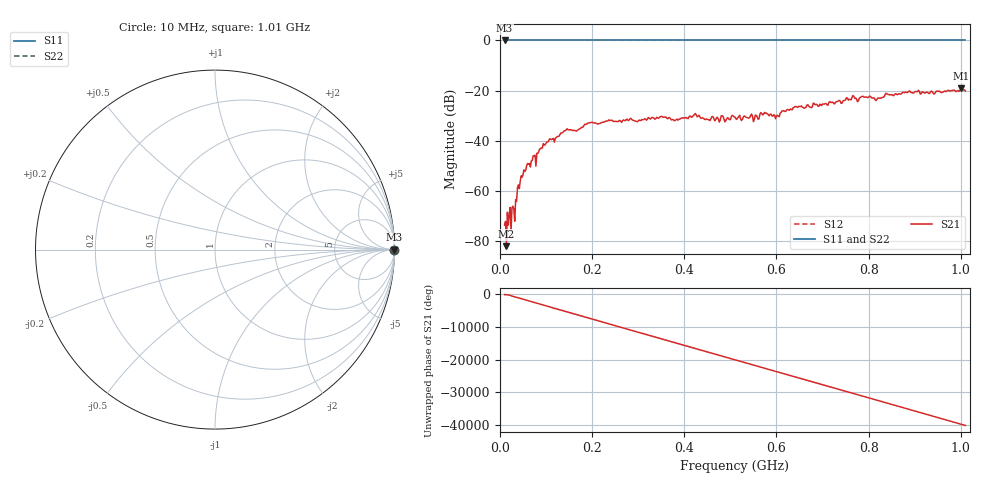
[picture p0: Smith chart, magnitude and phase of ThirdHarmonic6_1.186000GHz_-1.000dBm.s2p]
! 8/16/2025 12:09:28 PM
! C:\ANRITSUVNA\TEMP\TEMP.S2P
! CHANNEL.1
! TR.MEASUREMENT
! RAW.DATA
! RF.CORRECTION.OFF
! AVERAGING.OFF
! IF.BANDWIDTH: 5KHZ
! SWEEPTYPE:  FREQ.SWEEP(Linear)
! Reference Plane Port Info
! PORT:  PORT1  PORT2
! DISTANCE:  0  m  0  m
! TIME:  0  s  0  s
! PHASE.OFFSET:  0  deg.  0  deg.
! LOSS:  0  dB  0  dB
! REF.LOSS:  0  dB  0  dB
! REF.FREQ:  0  Hz  0  Hz
! Power Info
! POWER:  -20  dBm  -20  dBm
! EFF.POWER:  -20  dBm  -20  dBm
! SOURCE.ATTEN:  0  dB  0  dB
! TEST.ATTEN:  0  dB  0  dB
# GHZ S RI R 50.0
! FREQ.GHZ  S11RE  S11IM  S21RE  S21IM  S12RE  S12IM  S22RE  S22IM
!; PortSelection: Port_12
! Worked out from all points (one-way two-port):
!   501 points, 10 MHz to 1.01 GHz, reference 50 ohm
!   highest |S21| = -19.11 dB at 1 GHz (marker M1); lowest = -81.9 dB at 14 MHz (marker M2)
!   lowest |S11| = 0.0 dB at 10 MHz (marker M3)
!   |S11| at or under -10 dB: nowhere
!   |S22| runs from 0.0 to 0.0 dB; largest |S21 - S12| = 1.1
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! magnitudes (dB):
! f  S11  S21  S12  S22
! 10 MHz  0.0  -73.5  0.0  0.0
! 14 MHz  0.0  -81.9  0.0  0.0
! 24 MHz  0.0  -76.0  0.0  0.0
! 28 MHz  0.0  -66.0  0.0  0.0
! 42 MHz  0.0  -59.0  0.0  0.0
! 48 MHz  0.0  -54.4  0.0  0.0
! 72 MHz  0.0  -46.0  0.0  0.0
! 106 MHz  0.0  -39.8  0.0  0.0
! 142 MHz  0.0  -35.9  0.0  0.0
! 178 MHz  0.0  -34.5  0.0  0.0
! 196 MHz  0.0  -32.7  0.0  0.0
! 344 MHz  0.0  -31.0  0.0  0.0
! 510 MHz  0.0  -30.5  0.0  0.0
! 554 MHz  0.0  -29.8  0.0  0.0
! 576 MHz  0.0  -29.0  0.0  0.0
! 602 MHz  0.0  -29.8  0.0  0.0
! 640 MHz  0.0  -26.3  0.0  0.0
! 678 MHz  0.0  -26.3  0.0  0.0
! 818 MHz  0.0  -23.4  0.0  0.0
! 844 MHz  0.0  -21.5  0.0  0.0
! 1 GHz  0.0  -19.1  0.0  0.0
! 1.01 GHz  0.0  -20.1  0.0  0.0
